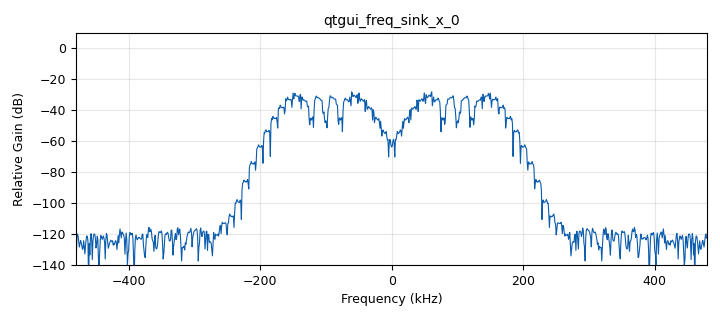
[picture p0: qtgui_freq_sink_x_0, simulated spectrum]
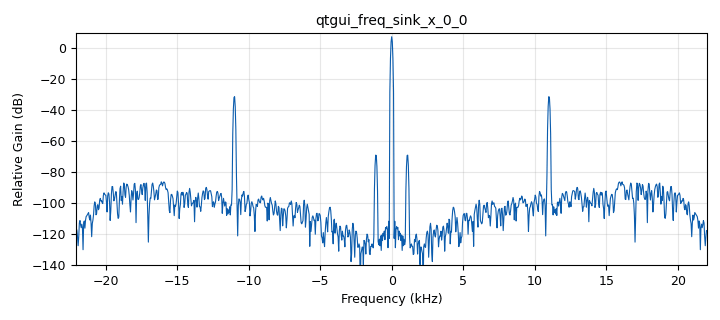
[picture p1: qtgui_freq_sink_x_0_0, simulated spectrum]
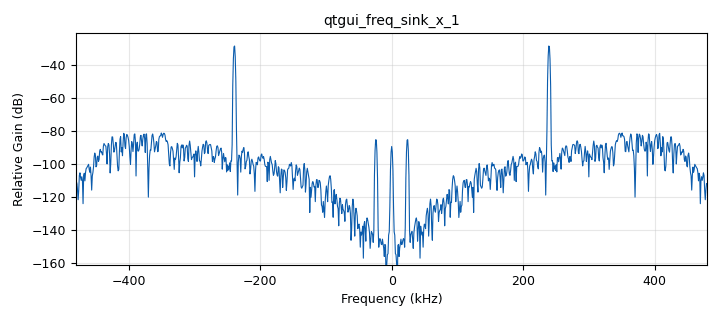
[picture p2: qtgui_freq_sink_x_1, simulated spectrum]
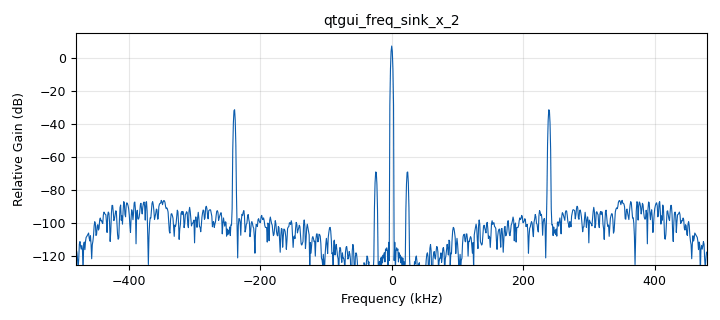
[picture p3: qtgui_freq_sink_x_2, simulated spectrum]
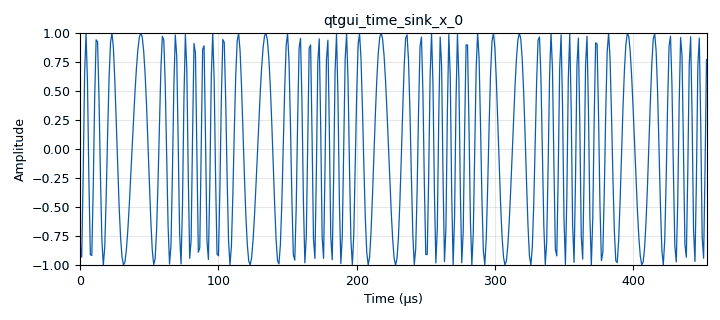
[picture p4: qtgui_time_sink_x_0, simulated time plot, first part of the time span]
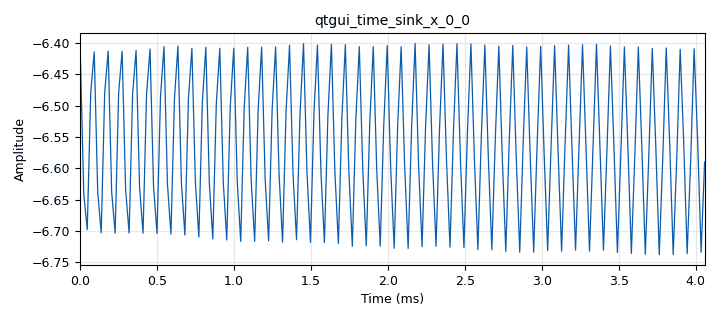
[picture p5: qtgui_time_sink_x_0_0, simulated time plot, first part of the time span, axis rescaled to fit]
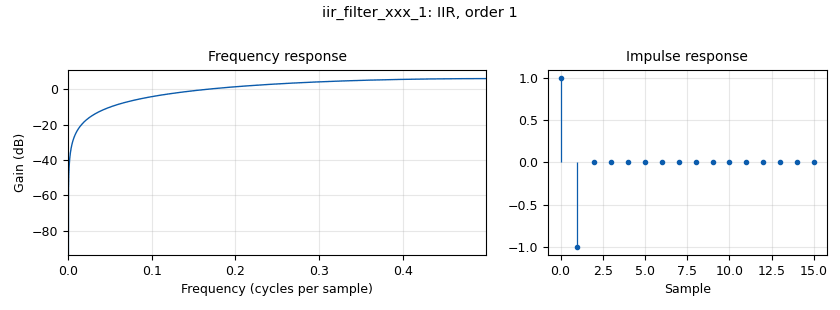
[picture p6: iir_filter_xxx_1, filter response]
<?xml version='1.0' encoding='utf-8'?>
<?grc format='1' created='3.7.13'?>
<flow_graph>
<block>
<key>options</key>
<param><key>id</key><value>top_block</value></param>
<param><key>generate_options</key><value>qt_gui</value></param>
</block>
<block>
<key>variable_qtgui_range</key>
<param><key>id</key><value>noise_amp</value></param>
<param><key>value</key><value>0.2</value></param>
<param><key>orient</key><value>Qt.Horizontal</value></param>
<param><key>start</key><value>0</value></param>
<param><key>step</key><value>0.1</value></param>
<param><key>stop</key><value>1</value></param>
</block>
<block>
<key>variable</key>
<param><key>id</key><value>samp_rate</value></param>
<param><key>value</key><value>960000</value></param>
</block>
<block>
<key>variable</key>
<param><key>id</key><value>samp_rate_0</value></param>
<param><key>value</key><value>44100</value></param>
</block>
<block>
<key>analog_noise_source_x</key>
<param><key>id</key><value>analog_noise_source_x_0</value></param>
<param><key>amp</key><value>noise_amp</value></param>
<param><key>noise_type</key><value>analog.GR_GAUSSIAN</value></param>
<param><key>type</key><value>complex</value></param>
<param><key>seed</key><value>0</value></param>
</block>
<block>
<key>analog_phase_modulator_fc</key>
<param><key>id</key><value>analog_phase_modulator_fc_0</value></param>
<param><key>sensitivity</key><value>3.14*2*75000</value></param>
</block>
<block>
<key>analog_sig_source_x</key>
<param><key>id</key><value>analog_sig_source_x_0</value></param>
<param><key>amp</key><value>0.5</value></param>
<param><key>freq</key><value>1100</value></param>
<param><key>offset</key><value>0</value></param>
<param><key>type</key><value>float</value></param>
<param><key>samp_rate</key><value>samp_rate_0</value></param>
<param><key>waveform</key><value>analog.GR_COS_WAVE</value></param>
</block>
<block>
<key>analog_sig_source_x</key>
<param><key>id</key><value>analog_sig_source_x_0_0</value></param>
<param><key>amp</key><value>0.5</value></param>
<param><key>freq</key><value>11000</value></param>
<param><key>offset</key><value>0</value></param>
<param><key>type</key><value>float</value></param>
<param><key>samp_rate</key><value>samp_rate_0</value></param>
<param><key>waveform</key><value>analog.GR_COS_WAVE</value></param>
</block>
<block>
<key>analog_sig_source_x</key>
<param><key>id</key><value>analog_sig_source_x_1</value></param>
<param><key>amp</key><value>1</value></param>
<param><key>freq</key><value>100000</value></param>
<param><key>offset</key><value>0</value></param>
<param><key>type</key><value>complex</value></param>
<param><key>samp_rate</key><value>samp_rate</value></param>
<param><key>waveform</key><value>analog.GR_COS_WAVE</value></param>
</block>
<block>
<key>blocks_add_xx</key>
<param><key>id</key><value>blocks_add_xx_0</value></param>
<param><key>type</key><value>float</value></param>
</block>
<block>
<key>blocks_add_xx</key>
<param><key>id</key><value>blocks_add_xx_1</value></param>
<param><key>type</key><value>complex</value></param>
</block>
<block>
<key>blocks_complex_to_arg</key>
<param><key>id</key><value>blocks_complex_to_arg_0</value></param>
</block>
<block>
<key>blocks_complex_to_real</key>
<param><key>id</key><value>blocks_complex_to_real_0</value></param>
</block>
<block>
<key>blocks_conjugate_cc</key>
<param><key>id</key><value>blocks_conjugate_cc_0</value></param>
</block>
<block>
<key>blocks_delay</key>
<param><key>id</key><value>blocks_delay_0</value></param>
<param><key>delay</key><value>1</value></param>
<param><key>type</key><value>complex</value></param>
</block>
<block>
<key>blocks_multiply_xx</key>
<param><key>id</key><value>blocks_multiply_xx_0</value></param>
<param><key>type</key><value>complex</value></param>
</block>
<block>
<key>blocks_multiply_xx</key>
<param><key>id</key><value>blocks_multiply_xx_0_0</value></param>
<param><key>type</key><value>complex</value></param>
</block>
<block>
<key>blocks_throttle</key>
<param><key>id</key><value>blocks_throttle_0</value></param>
<param><key>samples_per_second</key><value>samp_rate</value></param>
<param><key>type</key><value>float</value></param>
</block>
<block>
<key>blocks_throttle</key>
<param><key>id</key><value>blocks_throttle_1</value></param>
<param><key>samples_per_second</key><value>samp_rate_0</value></param>
<param><key>type</key><value>float</value></param>
</block>
<block>
<key>dc_blocker_xx</key>
<param><key>id</key><value>dc_blocker_xx_0</value></param>
<param><key>length</key><value>32</value></param>
<param><key>long_form</key><value>True</value></param>
<param><key>type</key><value>ff</value></param>
</block>
<block>
<key>iir_filter_xxx</key>
<param><key>id</key><value>iir_filter_xxx_0</value></param>
<param><key>fftaps</key><value>[1.0 / samp_rate_0]</value></param>
<param><key>fbtaps</key><value>[1,1]</value></param>
<param><key>type</key><value>ffd</value></param>
</block>
<block>
<key>iir_filter_xxx</key>
<param><key>id</key><value>iir_filter_xxx_1</value></param>
<param><key>fftaps</key><value>[1, -1]</value></param>
<param><key>fbtaps</key><value>[1, 0]</value></param>
<param><key>oldstyle</key><value>False</value></param>
<param><key>type</key><value>ffd</value></param>
</block>
<block>
<key>iir_filter_xxx</key>
<param><key>id</key><value>iir_filter_xxx_2</value></param>
<param><key>fftaps</key><value>[1, 0]</value></param>
<param><key>fbtaps</key><value>[1, -1]</value></param>
<param><key>oldstyle</key><value>False</value></param>
<param><key>type</key><value>ffd</value></param>
</block>
<block>
<key>qtgui_freq_sink_x</key>
<param><key>id</key><value>qtgui_freq_sink_x_0</value></param>
<param><key>bw</key><value>samp_rate</value></param>
<param><key>fc</key><value>0</value></param>
<param><key>fftsize</key><value>1024</value></param>
<param><key>gui_hint</key><value>tab@0</value></param>
<param><key>showports</key><value>True</value></param>
<param><key>type</key><value>float</value></param>
<param><key>wintype</key><value>firdes.WIN_BLACKMAN_hARRIS</value></param>
</block>
<block>
<key>qtgui_freq_sink_x</key>
<param><key>id</key><value>qtgui_freq_sink_x_0_0</value></param>
<param><key>bw</key><value>samp_rate_0</value></param>
<param><key>fc</key><value>0</value></param>
<param><key>fftsize</key><value>1024</value></param>
<param><key>gui_hint</key><value>tab@1</value></param>
<param><key>showports</key><value>True</value></param>
<param><key>type</key><value>float</value></param>
<param><key>wintype</key><value>firdes.WIN_BLACKMAN_hARRIS</value></param>
</block>
<block>
<key>qtgui_freq_sink_x</key>
<param><key>id</key><value>qtgui_freq_sink_x_1</value></param>
<param><key>autoscale</key><value>True</value></param>
<param><key>bw</key><value>samp_rate</value></param>
<param><key>fc</key><value>0</value></param>
<param><key>fftsize</key><value>1024</value></param>
<param><key>grid</key><value>True</value></param>
<param><key>showports</key><value>True</value></param>
<param><key>type</key><value>float</value></param>
<param><key>wintype</key><value>firdes.WIN_BLACKMAN_hARRIS</value></param>
</block>
<block>
<key>qtgui_freq_sink_x</key>
<param><key>id</key><value>qtgui_freq_sink_x_2</value></param>
<param><key>autoscale</key><value>True</value></param>
<param><key>bw</key><value>samp_rate</value></param>
<param><key>fc</key><value>0</value></param>
<param><key>fftsize</key><value>1024</value></param>
<param><key>showports</key><value>True</value></param>
<param><key>type</key><value>float</value></param>
<param><key>wintype</key><value>firdes.WIN_BLACKMAN_hARRIS</value></param>
</block>
<block>
<key>qtgui_time_sink_x</key>
<param><key>id</key><value>qtgui_time_sink_x_0</value></param>
<param><key>gui_hint</key><value>tab@0</value></param>
<param><key>color1</key><value>"blue"</value></param>
<param><key>label1</key><value></value></param>
<param><key>size</key><value>1024</value></param>
<param><key>srate</key><value>samp_rate</value></param>
<param><key>type</key><value>float</value></param>
</block>
<block>
<key>qtgui_time_sink_x</key>
<param><key>id</key><value>qtgui_time_sink_x_0_0</value></param>
<param><key>gui_hint</key><value>tab@1</value></param>
<param><key>color1</key><value>"blue"</value></param>
<param><key>label1</key><value></value></param>
<param><key>size</key><value>1024</value></param>
<param><key>srate</key><value>samp_rate_0</value></param>
<param><key>type</key><value>float</value></param>
</block>
<block>
<key>rational_resampler_xxx</key>
<param><key>id</key><value>rational_resampler_xxx_0</value></param>
<param><key>decim</key><value>samp_rate</value></param>
<param><key>interp</key><value>samp_rate_0</value></param>
<param><key>taps</key><value></value></param>
<param><key>type</key><value>fff</value></param>
</block>
<block>
<key>rational_resampler_xxx</key>
<param><key>id</key><value>rational_resampler_xxx_1</value></param>
<param><key>decim</key><value>samp_rate_0</value></param>
<param><key>interp</key><value>samp_rate</value></param>
<param><key>taps</key><value></value></param>
<param><key>type</key><value>fff</value></param>
</block>
<block>
<key>qtgui_tab_widget</key>
<param><key>id</key><value>tab</value></param>
<param><key>label0</key><value>Modulated</value></param>
<param><key>label1</key><value>After Demodulation</value></param>
<param><key>num_tabs</key><value>2</value></param>
</block>
<connection><source_block_id>analog_noise_source_x_0</source_block_id><sink_block_id>blocks_add_xx_1</sink_block_id><source_key>0</source_key><sink_key>1</sink_key></connection>
<connection><source_block_id>analog_phase_modulator_fc_0</source_block_id><sink_block_id>blocks_multiply_xx_0</sink_block_id><source_key>0</source_key><sink_key>0</sink_key></connection>
<connection><source_block_id>analog_sig_source_x_0</source_block_id><sink_block_id>blocks_add_xx_0</sink_block_id><source_key>0</source_key><sink_key>0</sink_key></connection>
<connection><source_block_id>analog_sig_source_x_0_0</source_block_id><sink_block_id>blocks_add_xx_0</sink_block_id><source_key>0</source_key><sink_key>1</sink_key></connection>
<connection><source_block_id>analog_sig_source_x_1</source_block_id><sink_block_id>blocks_multiply_xx_0</sink_block_id><source_key>0</source_key><sink_key>1</sink_key></connection>
<connection><source_block_id>blocks_add_xx_0</source_block_id><sink_block_id>iir_filter_xxx_1</sink_block_id><source_key>0</source_key><sink_key>0</sink_key></connection>
<connection><source_block_id>blocks_add_xx_1</source_block_id><sink_block_id>blocks_conjugate_cc_0</sink_block_id><source_key>0</source_key><sink_key>0</sink_key></connection>
<connection><source_block_id>blocks_add_xx_1</source_block_id><sink_block_id>blocks_delay_0</sink_block_id><source_key>0</source_key><sink_key>0</sink_key></connection>
<connection><source_block_id>blocks_complex_to_arg_0</source_block_id><sink_block_id>dc_blocker_xx_0</sink_block_id><source_key>0</source_key><sink_key>0</sink_key></connection>
<connection><source_block_id>blocks_complex_to_real_0</source_block_id><sink_block_id>blocks_throttle_0</sink_block_id><source_key>0</source_key><sink_key>0</sink_key></connection>
<connection><source_block_id>blocks_conjugate_cc_0</source_block_id><sink_block_id>blocks_multiply_xx_0_0</sink_block_id><source_key>0</source_key><sink_key>0</sink_key></connection>
<connection><source_block_id>blocks_delay_0</source_block_id><sink_block_id>blocks_multiply_xx_0_0</sink_block_id><source_key>0</source_key><sink_key>1</sink_key></connection>
<connection><source_block_id>blocks_multiply_xx_0</source_block_id><sink_block_id>blocks_add_xx_1</sink_block_id><source_key>0</source_key><sink_key>0</sink_key></connection>
<connection><source_block_id>blocks_multiply_xx_0</source_block_id><sink_block_id>blocks_complex_to_real_0</sink_block_id><source_key>0</source_key><sink_key>0</sink_key></connection>
<connection><source_block_id>blocks_multiply_xx_0_0</source_block_id><sink_block_id>blocks_complex_to_arg_0</sink_block_id><source_key>0</source_key><sink_key>0</sink_key></connection>
<connection><source_block_id>blocks_throttle_0</source_block_id><sink_block_id>qtgui_freq_sink_x_0</sink_block_id><source_key>0</source_key><sink_key>0</sink_key></connection>
<connection><source_block_id>blocks_throttle_0</source_block_id><sink_block_id>qtgui_time_sink_x_0</sink_block_id><source_key>0</source_key><sink_key>0</sink_key></connection>
<connection><source_block_id>blocks_throttle_1</source_block_id><sink_block_id>qtgui_freq_sink_x_0_0</sink_block_id><source_key>0</source_key><sink_key>0</sink_key></connection>
<connection><source_block_id>blocks_throttle_1</source_block_id><sink_block_id>qtgui_time_sink_x_0_0</sink_block_id><source_key>0</source_key><sink_key>0</sink_key></connection>
<connection><source_block_id>dc_blocker_xx_0</source_block_id><sink_block_id>rational_resampler_xxx_0</sink_block_id><source_key>0</source_key><sink_key>0</sink_key></connection>
<connection><source_block_id>iir_filter_xxx_0</source_block_id><sink_block_id>rational_resampler_xxx_1</sink_block_id><source_key>0</source_key><sink_key>0</sink_key></connection>
<connection><source_block_id>iir_filter_xxx_1</source_block_id><sink_block_id>iir_filter_xxx_0</sink_block_id><source_key>0</source_key><sink_key>0</sink_key></connection>
<connection><source_block_id>iir_filter_xxx_2</source_block_id><sink_block_id>blocks_throttle_1</sink_block_id><source_key>0</source_key><sink_key>0</sink_key></connection>
<connection><source_block_id>iir_filter_xxx_2</source_block_id><sink_block_id>qtgui_freq_sink_x_2</sink_block_id><source_key>0</source_key><sink_key>0</sink_key></connection>
<connection><source_block_id>rational_resampler_xxx_0</source_block_id><sink_block_id>iir_filter_xxx_2</sink_block_id><source_key>0</source_key><sink_key>0</sink_key></connection>
<connection><source_block_id>rational_resampler_xxx_0</source_block_id><sink_block_id>qtgui_freq_sink_x_1</sink_block_id><source_key>0</source_key><sink_key>0</sink_key></connection>
<connection><source_block_id>rational_resampler_xxx_1</source_block_id><sink_block_id>analog_phase_modulator_fc_0</sink_block_id><source_key>0</source_key><sink_key>0</sink_key></connection>
</flow_graph>
